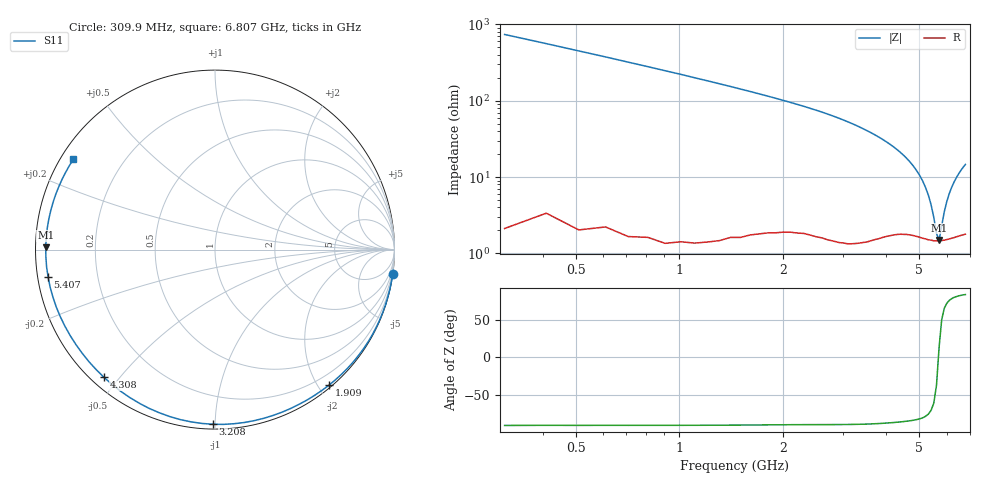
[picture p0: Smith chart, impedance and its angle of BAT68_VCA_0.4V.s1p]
! Infineon Technologies  Discrete & RF Semiconductors
! BAT68
! VCA = 0.4 V
! One-Port S-Parameters
# Hz  S  MA  R  50
!f  S11
!Hz  Mag  Ang
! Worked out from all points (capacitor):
!   66 points, 309.9 MHz to 6.807 GHz, reference 50 ohm
!   read as one part to ground: C = 692 fF near 309.9 MHz
!   lowest |Z| = 1.5 ohm at 5.707 GHz (marker M1)
!   series resonance near 5.683 GHz, so ESL is about 1.1 nH
!   S11 on the Smith chart (normalised r, x): 309.9 MHz: 0, -15; 1.909 GHz: 0.04, -2.15; 3.208 GHz: 0.03, -0.99; 4.308 GHz: 0.04, -0.46; 5.407 GHz: 0.03, -0.08; 6.807 GHz: 0.04, +0.29
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3.0985e8  0.9996 -7.8
5.0975e8  0.999 -12.7
8.096e8  0.998 -20.3
1.0095e9  0.9972 -25.5
1.2094e9  0.996 -30.8
1.6092e9  0.9912 -41.5
1.90905e9  0.9868 -49.9
2.009e9  0.9851 -52.7
2.4088e9  0.9804 -64.5
2.6087e9  0.9789 -70.6
2.8086e9  0.9777 -77.1
3.0085e9  0.9759 -83.8
3.2084e9  0.9731 -90.7
3.4083e9  0.969 -97.9
3.6082e9  0.9638 -105.1
3.90805e9  0.9543 -116.2
4.10795e9  0.9483 -123.6
4.30785e9  0.9429 -131.0
4.4078e9  0.941 -134.7
4.6077e9  0.9386 -142.0
4.8076e9  0.9383 -149.2
5.0075e9  0.9394 -156.4
5.2074e9  0.941 -163.6
5.4073e9  0.9423 -170.7
5.70715e9  0.9433 179.2
6.007e9  0.9414 169.7
6.4068e9  0.9382 158.0
6.8066e9  0.9361 147.5
